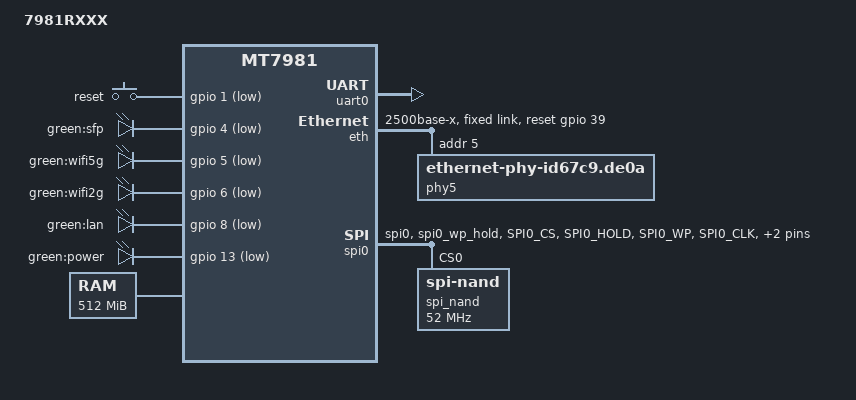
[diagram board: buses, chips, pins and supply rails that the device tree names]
// SPDX-License-Identifier: GPL-2.0
/*
 * Copyright (C) 2024, Nanchuci <nanchuci023@gmail.com>
 * Add Support Intel GPY211 Driver For Uboot By nanchuci
 */

/dts-v1/;
#include "mt7981.dtsi"
#include <dt-bindings/gpio/gpio.h>

/ {
	#address-cells = <1>;
	#size-cells = <1>;
	model = "7981RXXX";
	compatible = "mediatek,mt7981-sfp-nand-7981rxxx";

	chosen {
		stdout-path = &uart0;
		tick-timer = &timer0;
	};

	config {
		bootcmd = "mtkboardboot";
		blink_led = "green:power";
		system_led = "green:power";
	};

	mtd-layout {
		layout@0 {
			label = "default";
			// mtd layout for 7981RXXX stock ubi or openwrt-stock/immortalwrt-stock firmware
			mtdids = "nmbm0=nmbm0";
			mtdparts = "nmbm0:1024k(bl2),512k(u-boot-env),2048k(factory),2048k(fip),65536k(ubi)";
		};

		layout@1 {
			label = "immortalwrt-114.5m";
			// mtd layout for immortalwrt/openwrt 114.5M ubi firmware
			mtdids = "nmbm0=nmbm0";
			mtdparts = "nmbm0:1024k(bl2),512k(u-boot-env),2048k(factory),2048k(fip),117248k(ubi)";
		};

	};

	gpio-keys {
		compatible = "gpio-keys";

		reset-button {
			label = "reset";
			linux,code = <KEY_RESTART>;
			gpios = <&gpio 1 GPIO_ACTIVE_LOW>;
		};
	};

	leds {
		compatible = "gpio-leds";

		SFP {
			label = "green:sfp";
			gpios = <&gpio 4 GPIO_ACTIVE_LOW>;
			default-state = "off";
		};

		WIFI5G {
			label = "green:wifi5g";
			gpios = <&gpio 5 GPIO_ACTIVE_LOW>;
			default-state = "off";
		};

		WIFI2G {
			label = "green:wifi2g";
			gpios = <&gpio 6 GPIO_ACTIVE_LOW>;
			default-state = "off";
		};

		LAN {
			label = "green:lan";
			gpios = <&gpio 8 GPIO_ACTIVE_LOW>;
			default-state = "off";
		};

		POWER {
			label = "green:power";
			gpios = <&gpio 13 GPIO_ACTIVE_LOW>;
			default-state = "on";
		};
	};

	memory@40000000 {
		device_type = "memory";
		reg = <0x40000000 0x20000000>;
	};

	bl2_verify {
		bl2_compatible = "spim-nand";
	};
};

&uart0 {
	status = "okay";
};

&uart1 {
	pinctrl-names = "default";
	pinctrl-0 = <&uart1_pins>;
	status = "disabled";
};

&eth {
	status = "okay";
	mediatek,gmac-id = <0>;
	phy-mode = "2500base-x";
	mediatek,switch = "mt7531";
	reset-gpios = <&gpio 39 GPIO_ACTIVE_HIGH>;

	fixed-link {
		speed = <2500>;
		full-duplex;
	};

	phy5: eth-phy@5 {
		mediatek,gmac-id = <1>;
		mediatek,sgmiisys = <&sgmiisys1>;
		phy-mode = "sgmii";
		phy-handle = <&phy5>;

		compatible = "ethernet-phy-id67c9.de0a";
		reg = <5>;
		//reset-gpios = <&gpio 7 GPIO_ACTIVE_LOW>;
		reset-assert-us = <600>;
		reset-deassert-us = <20000>;
		maxlinear,led-drive-vdd;
		maxlinear,led-reg = <0x3c0 0x330 0x0 0x0>;
	};
};

&pinctrl {
	spi_flash_pins: spi0-pins-func-1 {
		mux {
			function = "flash";
			groups = "spi0", "spi0_wp_hold";
		};

		conf-pu {
			pins = "SPI0_CS", "SPI0_HOLD", "SPI0_WP";
			drive-strength = <MTK_DRIVE_8mA>;
			bias-pull-up = <MTK_PUPD_SET_R1R0_11>;
		};

		conf-pd {
			pins = "SPI0_CLK", "SPI0_MOSI", "SPI0_MISO";
			drive-strength = <MTK_DRIVE_8mA>;
			bias-pull-down = <MTK_PUPD_SET_R1R0_11>;
		};
	};

	spic_pins: spi1-pins-func-1 {
		mux {
			function = "spi";
			groups = "spi1_1";
		};
	};

	uart1_pins: spi1-pins-func-3 {
		mux {
			function = "uart";
			groups = "uart1_2";
		};
	};
};

&spi0 {
	#address-cells = <1>;
	#size-cells = <0>;
	pinctrl-names = "default";
	pinctrl-0 = <&spi_flash_pins>;
	status = "okay";
	must_tx;
	enhance_timing;
	dma_ext;
	ipm_design;
	support_quad;
	tick_dly = <2>;
	sample_sel = <0>;

	spi_nand@0 {
		compatible = "spi-nand";
		reg = <0>;
		spi-max-frequency = <52000000>;
	};
};

&watchdog {
	status = "disabled";
};
